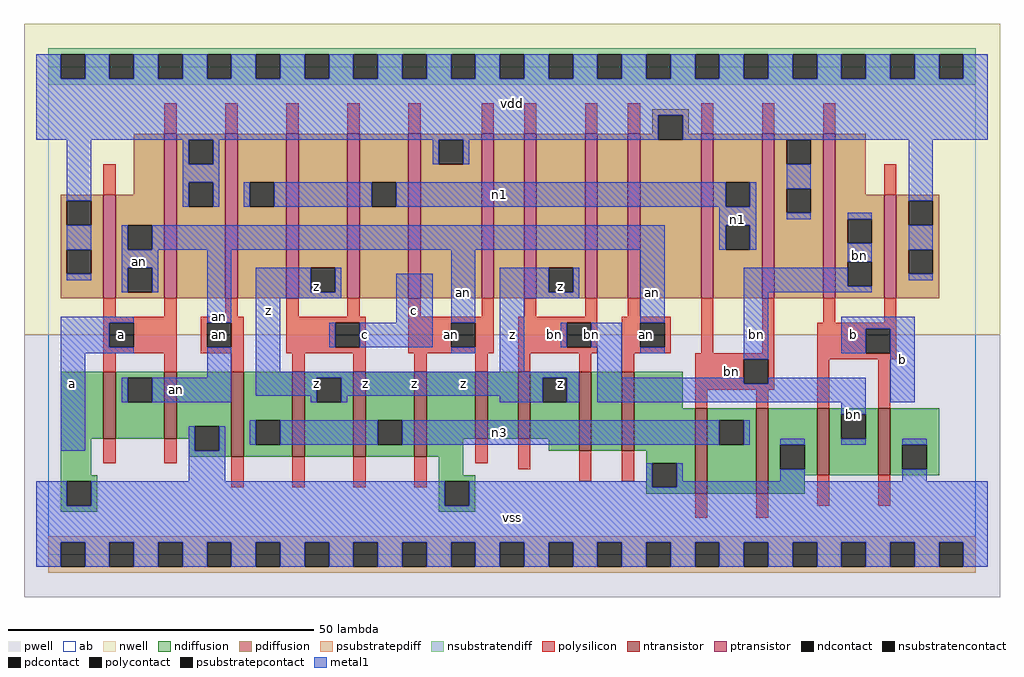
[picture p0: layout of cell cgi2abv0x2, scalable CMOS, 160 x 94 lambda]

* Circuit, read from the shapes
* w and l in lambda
.subckt cgi2abv0x2 a an b bn c n1 n3 vdd vss z
M1 an a vss vss nfet w=11 l=2 m=2
M2 n3 an vss vss nfet w=14 l=2 m=2
M3 z c n3 vss nfet w=14 l=2 m=2
M4 n2 an vss vss nfet w=11 l=2
M5 z bn n2 vss nfet w=11 l=2
M6 n4 bn z vss nfet w=13 l=2
M7 vss an n4 vss nfet w=13 l=2
M8 n3 bn vss vss nfet w=14 l=2 m=2
M9 bn b vss vss nfet w=11 l=2 m=2
M10 an a vdd vdd pfet w=17 l=2
M11 vdd a an vdd pfet w=27 l=2
M12 n1 an vdd vdd pfet w=27 l=2 m=2
M13 z c n1 vdd pfet w=27 l=2 m=2
M14 n5 an vdd vdd pfet w=27 l=2
M15 z bn n5 vdd pfet w=27 l=2
M16 n6 bn z vdd pfet w=27 l=2
M17 vdd an n6 vdd pfet w=27 l=2
M18 n1 bn vdd vdd pfet w=27 l=2 m=2
M19 bn b vdd vdd pfet w=27 l=2
M20 vdd b bn vdd pfet w=17 l=2
.ends

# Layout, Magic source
magic
tech scmos
<< ab >>
rect 0 0 152 80
<< pwell >>
rect -4 -7 156 36
<< nwell >>
rect -4 36 156 87
<< polysilicon >>
rect 19 69 21 74
rect 29 69 31 74
rect 39 69 41 74
rect 49 69 51 74
rect 59 69 61 74
rect 71 69 73 74
rect 78 69 80 74
rect 88 69 90 74
rect 95 69 97 74
rect 9 59 11 64
rect 107 69 109 74
rect 117 69 119 74
rect 127 69 129 74
rect 137 59 139 64
rect 9 39 11 42
rect 19 39 21 42
rect 29 39 31 42
rect 39 39 41 42
rect 49 39 51 42
rect 59 39 61 42
rect 71 39 73 42
rect 78 39 80 42
rect 88 39 90 42
rect 95 39 97 42
rect 9 38 21 39
rect 9 34 10 38
rect 14 34 21 38
rect 9 33 21 34
rect 25 38 32 39
rect 25 34 26 38
rect 30 34 32 38
rect 25 33 32 34
rect 39 38 52 39
rect 39 34 47 38
rect 51 34 52 38
rect 39 33 52 34
rect 59 38 73 39
rect 59 34 66 38
rect 70 34 73 38
rect 59 33 73 34
rect 77 38 90 39
rect 77 34 85 38
rect 89 34 90 38
rect 77 33 90 34
rect 94 38 102 39
rect 94 34 97 38
rect 101 34 102 38
rect 94 33 102 34
rect 107 33 109 42
rect 117 33 119 42
rect 127 38 129 42
rect 137 38 139 42
rect 9 30 11 33
rect 19 30 21 33
rect 30 30 32 33
rect 40 30 42 33
rect 50 30 52 33
rect 60 30 62 33
rect 70 30 72 33
rect 77 30 79 33
rect 87 30 89 33
rect 94 30 96 33
rect 106 32 119 33
rect 9 15 11 19
rect 19 15 21 19
rect 30 11 32 16
rect 40 11 42 16
rect 50 11 52 16
rect 60 11 62 16
rect 70 15 72 19
rect 77 14 79 19
rect 106 28 114 32
rect 118 28 119 32
rect 106 27 119 28
rect 126 37 139 38
rect 126 33 134 37
rect 138 33 139 37
rect 126 32 139 33
rect 106 24 108 27
rect 116 24 118 27
rect 126 24 128 32
rect 136 24 138 32
rect 87 12 89 17
rect 94 12 96 17
rect 106 6 108 10
rect 116 6 118 10
rect 126 8 128 13
rect 136 8 138 13
<< ndiffusion >>
rect 2 19 9 30
rect 11 29 19 30
rect 11 25 13 29
rect 17 25 19 29
rect 11 19 19 25
rect 21 21 30 30
rect 21 19 24 21
rect 2 13 7 19
rect 23 17 24 19
rect 28 17 30 21
rect 23 16 30 17
rect 32 22 40 30
rect 32 18 34 22
rect 38 18 40 22
rect 32 16 40 18
rect 42 29 50 30
rect 42 25 44 29
rect 48 25 50 29
rect 42 16 50 25
rect 52 22 60 30
rect 52 18 54 22
rect 58 18 60 22
rect 52 16 60 18
rect 62 19 70 30
rect 72 19 77 30
rect 79 29 87 30
rect 79 25 81 29
rect 85 25 87 29
rect 79 19 87 25
rect 62 16 68 19
rect 2 12 8 13
rect 2 8 3 12
rect 7 8 8 12
rect 64 13 68 16
rect 82 17 87 19
rect 89 17 94 30
rect 96 24 104 30
rect 96 17 106 24
rect 64 12 70 13
rect 98 15 106 17
rect 2 7 8 8
rect 64 8 65 12
rect 69 8 70 12
rect 98 11 99 15
rect 103 11 106 15
rect 98 10 106 11
rect 108 22 116 24
rect 108 18 110 22
rect 114 18 116 22
rect 108 10 116 18
rect 118 18 126 24
rect 118 14 120 18
rect 124 14 126 18
rect 118 13 126 14
rect 128 23 136 24
rect 128 19 130 23
rect 134 19 136 23
rect 128 13 136 19
rect 138 18 146 24
rect 138 14 140 18
rect 144 14 146 18
rect 138 13 146 14
rect 118 10 124 13
rect 64 7 70 8
<< pdiffusion >>
rect 99 72 105 73
rect 99 69 100 72
rect 14 59 19 69
rect 2 58 9 59
rect 2 54 3 58
rect 7 54 9 58
rect 2 50 9 54
rect 2 46 3 50
rect 7 46 9 50
rect 2 42 9 46
rect 11 54 19 59
rect 11 50 13 54
rect 17 50 19 54
rect 11 47 19 50
rect 11 43 13 47
rect 17 43 19 47
rect 11 42 19 43
rect 21 68 29 69
rect 21 64 23 68
rect 27 64 29 68
rect 21 61 29 64
rect 21 57 23 61
rect 27 57 29 61
rect 21 42 29 57
rect 31 61 39 69
rect 31 57 33 61
rect 37 57 39 61
rect 31 42 39 57
rect 41 47 49 69
rect 41 43 43 47
rect 47 43 49 47
rect 41 42 49 43
rect 51 61 59 69
rect 51 57 53 61
rect 57 57 59 61
rect 51 42 59 57
rect 61 68 71 69
rect 61 64 64 68
rect 68 64 71 68
rect 61 42 71 64
rect 73 42 78 69
rect 80 47 88 69
rect 80 43 82 47
rect 86 43 88 47
rect 80 42 88 43
rect 90 42 95 69
rect 97 68 100 69
rect 104 69 105 72
rect 104 68 107 69
rect 97 42 107 68
rect 109 61 117 69
rect 109 57 111 61
rect 115 57 117 61
rect 109 54 117 57
rect 109 50 111 54
rect 115 50 117 54
rect 109 42 117 50
rect 119 68 127 69
rect 119 64 121 68
rect 125 64 127 68
rect 119 60 127 64
rect 119 56 121 60
rect 125 56 127 60
rect 119 42 127 56
rect 129 59 134 69
rect 129 55 137 59
rect 129 51 131 55
rect 135 51 137 55
rect 129 48 137 51
rect 129 44 131 48
rect 135 44 137 48
rect 129 42 137 44
rect 139 58 146 59
rect 139 54 141 58
rect 145 54 146 58
rect 139 50 146 54
rect 139 46 141 50
rect 145 46 146 50
rect 139 42 146 46
<< metal1 >>
rect -2 78 2 82
rect 6 78 10 82
rect 14 78 18 82
rect 22 78 26 82
rect 30 78 34 82
rect 38 78 42 82
rect 46 78 50 82
rect 54 78 58 82
rect 62 78 66 82
rect 70 78 74 82
rect 78 78 82 82
rect 86 78 90 82
rect 94 78 98 82
rect 102 78 106 82
rect 110 78 114 82
rect 118 78 122 82
rect 126 78 130 82
rect 134 78 138 82
rect 142 78 146 82
rect 150 78 154 82
rect -2 72 154 78
rect -2 68 100 72
rect 104 68 154 72
rect 3 58 7 68
rect 22 64 23 68
rect 27 64 28 68
rect 63 64 64 68
rect 68 64 69 68
rect 22 61 28 64
rect 22 57 23 61
rect 27 57 28 61
rect 32 57 33 61
rect 37 57 53 61
rect 57 57 111 61
rect 115 57 116 61
rect 110 54 116 57
rect 121 60 125 64
rect 141 58 145 68
rect 121 55 125 56
rect 131 55 135 56
rect 3 50 7 54
rect 3 45 7 46
rect 12 50 13 54
rect 17 50 101 54
rect 110 50 111 54
rect 115 50 116 54
rect 12 47 18 50
rect 12 43 13 47
rect 17 43 18 47
rect 2 38 14 39
rect 2 34 10 38
rect 2 33 14 34
rect 26 38 30 50
rect 2 17 6 33
rect 26 29 30 34
rect 12 25 13 29
rect 17 25 30 29
rect 34 43 43 47
rect 47 43 48 47
rect 34 42 48 43
rect 34 30 38 42
rect 57 38 63 46
rect 46 34 47 38
rect 51 34 63 38
rect 66 38 70 50
rect 66 33 70 34
rect 74 43 82 47
rect 86 43 87 47
rect 74 42 87 43
rect 74 30 78 42
rect 97 38 101 50
rect 131 48 135 51
rect 84 34 85 38
rect 89 34 94 38
rect 34 29 87 30
rect 34 26 44 29
rect 43 25 44 26
rect 48 26 81 29
rect 48 25 49 26
rect 74 25 81 26
rect 85 25 87 29
rect 90 29 94 34
rect 97 33 101 34
rect 114 44 131 47
rect 141 50 145 54
rect 141 45 145 46
rect 114 43 135 44
rect 114 32 118 43
rect 130 37 142 39
rect 130 33 134 37
rect 90 28 114 29
rect 118 28 134 29
rect 90 25 134 28
rect 138 25 142 37
rect 130 23 134 25
rect 23 17 24 21
rect 28 17 29 21
rect 33 18 34 22
rect 38 18 54 22
rect 58 18 110 22
rect 114 18 115 22
rect 120 18 124 19
rect 130 18 134 19
rect 140 18 144 19
rect 23 12 29 17
rect 98 12 99 15
rect -2 8 3 12
rect 7 8 65 12
rect 69 11 99 12
rect 103 12 104 15
rect 120 12 124 14
rect 140 12 144 14
rect 103 11 154 12
rect 69 8 154 11
rect -2 2 154 8
rect -2 -2 2 2
rect 6 -2 10 2
rect 14 -2 18 2
rect 22 -2 26 2
rect 30 -2 34 2
rect 38 -2 42 2
rect 46 -2 50 2
rect 54 -2 58 2
rect 62 -2 66 2
rect 70 -2 74 2
rect 78 -2 82 2
rect 86 -2 90 2
rect 94 -2 98 2
rect 102 -2 106 2
rect 110 -2 114 2
rect 118 -2 122 2
rect 126 -2 130 2
rect 134 -2 138 2
rect 142 -2 146 2
rect 150 -2 154 2
<< ntransistor >>
rect 9 19 11 30
rect 19 19 21 30
rect 30 16 32 30
rect 40 16 42 30
rect 50 16 52 30
rect 60 16 62 30
rect 70 19 72 30
rect 77 19 79 30
rect 87 17 89 30
rect 94 17 96 30
rect 106 10 108 24
rect 116 10 118 24
rect 126 13 128 24
rect 136 13 138 24
<< ptransistor >>
rect 9 42 11 59
rect 19 42 21 69
rect 29 42 31 69
rect 39 42 41 69
rect 49 42 51 69
rect 59 42 61 69
rect 71 42 73 69
rect 78 42 80 69
rect 88 42 90 69
rect 95 42 97 69
rect 107 42 109 69
rect 117 42 119 69
rect 127 42 129 69
rect 137 42 139 59
<< polycontact >>
rect 10 34 14 38
rect 26 34 30 38
rect 47 34 51 38
rect 66 34 70 38
rect 85 34 89 38
rect 97 34 101 38
rect 114 28 118 32
rect 134 33 138 37
<< ndcontact >>
rect 13 25 17 29
rect 24 17 28 21
rect 34 18 38 22
rect 44 25 48 29
rect 54 18 58 22
rect 81 25 85 29
rect 3 8 7 12
rect 65 8 69 12
rect 99 11 103 15
rect 110 18 114 22
rect 120 14 124 18
rect 130 19 134 23
rect 140 14 144 18
<< pdcontact >>
rect 3 54 7 58
rect 3 46 7 50
rect 13 50 17 54
rect 13 43 17 47
rect 23 64 27 68
rect 23 57 27 61
rect 33 57 37 61
rect 43 43 47 47
rect 53 57 57 61
rect 64 64 68 68
rect 82 43 86 47
rect 100 68 104 72
rect 111 57 115 61
rect 111 50 115 54
rect 121 64 125 68
rect 121 56 125 60
rect 131 51 135 55
rect 131 44 135 48
rect 141 54 145 58
rect 141 46 145 50
<< psubstratepcontact >>
rect 2 -2 6 2
rect 10 -2 14 2
rect 18 -2 22 2
rect 26 -2 30 2
rect 34 -2 38 2
rect 42 -2 46 2
rect 50 -2 54 2
rect 58 -2 62 2
rect 66 -2 70 2
rect 74 -2 78 2
rect 82 -2 86 2
rect 90 -2 94 2
rect 98 -2 102 2
rect 106 -2 110 2
rect 114 -2 118 2
rect 122 -2 126 2
rect 130 -2 134 2
rect 138 -2 142 2
rect 146 -2 150 2
<< nsubstratencontact >>
rect 2 78 6 82
rect 10 78 14 82
rect 18 78 22 82
rect 26 78 30 82
rect 34 78 38 82
rect 42 78 46 82
rect 50 78 54 82
rect 58 78 62 82
rect 66 78 70 82
rect 74 78 78 82
rect 82 78 86 82
rect 90 78 94 82
rect 98 78 102 82
rect 106 78 110 82
rect 114 78 118 82
rect 122 78 126 82
rect 130 78 134 82
rect 138 78 142 82
rect 146 78 150 82
<< psubstratepdiff >>
rect 0 2 152 3
rect 0 -2 2 2
rect 6 -2 10 2
rect 14 -2 18 2
rect 22 -2 26 2
rect 30 -2 34 2
rect 38 -2 42 2
rect 46 -2 50 2
rect 54 -2 58 2
rect 62 -2 66 2
rect 70 -2 74 2
rect 78 -2 82 2
rect 86 -2 90 2
rect 94 -2 98 2
rect 102 -2 106 2
rect 110 -2 114 2
rect 118 -2 122 2
rect 126 -2 130 2
rect 134 -2 138 2
rect 142 -2 146 2
rect 150 -2 152 2
rect 0 -3 152 -2
<< nsubstratendiff >>
rect 0 82 152 83
rect 0 78 2 82
rect 6 78 10 82
rect 14 78 18 82
rect 22 78 26 82
rect 30 78 34 82
rect 38 78 42 82
rect 46 78 50 82
rect 54 78 58 82
rect 62 78 66 82
rect 70 78 74 82
rect 78 78 82 82
rect 86 78 90 82
rect 94 78 98 82
rect 102 78 106 82
rect 110 78 114 82
rect 118 78 122 82
rect 126 78 130 82
rect 134 78 138 82
rect 142 78 146 82
rect 150 78 152 82
rect 0 77 152 78
<< labels >>
rlabel polycontact 28 36 28 36 6 an
rlabel polysilicon 66 36 66 36 6 an
rlabel polycontact 98 36 98 36 6 an
rlabel polysilicon 83 36 83 36 6 bn
rlabel polysilicon 112 30 112 30 6 bn
rlabel metal1 4 28 4 28 6 a
rlabel polycontact 12 36 12 36 6 a
rlabel metal1 15 48 15 48 6 an
rlabel metal1 21 27 21 27 6 an
rlabel metal1 52 28 52 28 6 z
rlabel metal1 44 28 44 28 6 z
rlabel metal1 52 36 52 36 6 c
rlabel pdcontact 44 44 44 44 6 z
rlabel metal1 36 40 36 40 6 z
rlabel metal1 28 39 28 39 6 an
rlabel metal1 76 6 76 6 6 vss
rlabel metal1 60 28 60 28 6 z
rlabel ndcontact 84 28 84 28 6 z
rlabel metal1 68 28 68 28 6 z
rlabel metal1 60 40 60 40 6 c
rlabel pdcontact 84 44 84 44 6 z
rlabel metal1 76 36 76 36 6 z
rlabel metal1 68 43 68 43 6 an
rlabel metal1 76 74 76 74 6 vdd
rlabel metal1 74 20 74 20 6 n3
rlabel metal1 116 36 116 36 6 bn
rlabel metal1 89 36 89 36 6 bn
rlabel metal1 113 55 113 55 6 n1
rlabel metal1 99 43 99 43 6 an
rlabel metal1 74 59 74 59 6 n1
rlabel metal1 132 23 132 23 6 bn
rlabel metal1 140 32 140 32 6 b
rlabel metal1 132 36 132 36 6 b
rlabel metal1 133 49 133 49 6 bn
<< end >>
